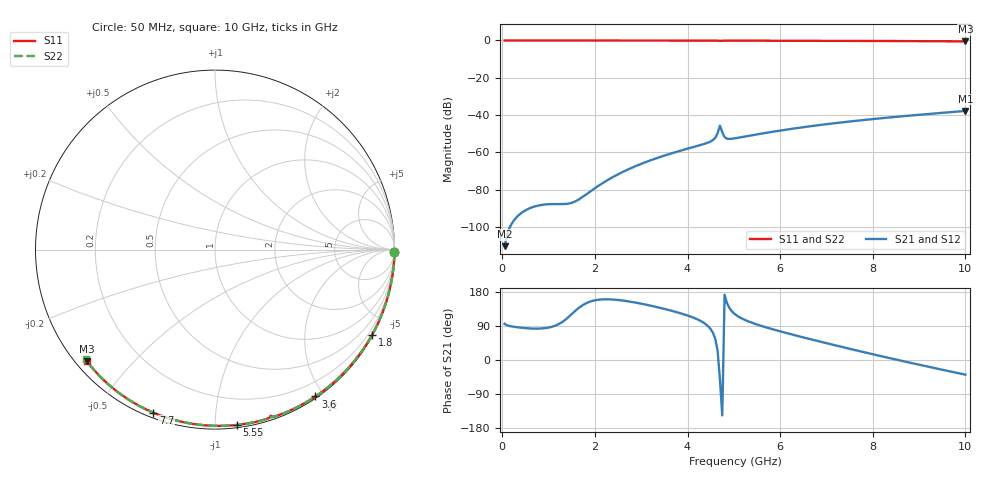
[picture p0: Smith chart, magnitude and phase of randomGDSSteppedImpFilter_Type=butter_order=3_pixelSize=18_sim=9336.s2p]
! freq	dB(S11)	phase(S11)	dB(S12)	phase(S12)
!  dB(S21)	phase(S21)	dB(S22)	phase(S22)
!S-par simulation data
#  GHz  S  DB  R 50
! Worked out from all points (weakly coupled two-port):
!   200 points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, 50 MHz to 10 GHz, reference 50 ohm
!   highest |S21| = -37.80 dB at 10 GHz (marker M1); lowest = -110.4 dB at 50 MHz (marker M2)
!   lowest |S11| = -0.5 dB at 10 GHz (marker M3), VSWR 36.51, Z = 1.56 - j18.8 ohm
!   |S11| at or under -10 dB: nowhere
!   |S22| runs from -0.5 to 0.0 dB; largest |S21 - S12| = 0
!   S11 on the Smith chart (normalised r, x): 50 MHz: open; 1.8 GHz: 0.03, -3.94; 3.6 GHz: 0.02, -1.89; 5.55 GHz: 0.02, -1.13; 7.7 GHz: 0.02, -0.69; 10 GHz: 0.03, -0.38
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0.05  -0.00 -0.8  -110.39 95.5  -110.39 95.5  -0.00 -0.8
0.9  -0.02 -14.4  -88.06 83.8  -88.06 83.8  -0.02 -14.5
1.75  -0.04 -27.7  -83.70 145.7  -83.70 145.7  -0.04 -27.9
1.8  -0.04 -28.5  -82.82 149.1  -82.82 149.1  -0.04 -28.7
1.95  -0.04 -30.8  -80.16 156.1  -80.16 156.1  -0.04 -31.0
2.35  -0.05 -36.9  -73.82 159.8  -73.82 159.8  -0.05 -37.2
2.65  -0.05 -41.5  -69.96 156.1  -69.96 156.1  -0.05 -41.7
3.4  -0.07 -52.7  -62.59 137.9  -62.59 137.9  -0.07 -53.0
3.6  -0.07 -55.6  -60.99 131.7  -60.99 131.7  -0.08 -56.0
4.5  -0.10 -68.6  -54.19 81.5  -54.19 81.5  -0.10 -69.0
4.6  -0.11 -70.1  -52.20 55.2  -52.20 55.2  -0.11 -70.4
4.65  -0.13 -71.0  -49.69 24.4  -49.69 24.4  -0.11 -71.2
4.7  -0.21 -71.5  -45.71 -51.9  -45.71 -51.9  -0.14 -71.8
4.75  -0.15 -71.7  -49.23 -146.1  -49.23 -146.1  -0.12 -72.3
4.8  -0.12 -72.5  -51.89 172.3  -51.89 172.3  -0.12 -73.1
4.9  -0.12 -74.0  -52.84 138.1  -52.84 138.1  -0.11 -74.5
5.05  -0.12 -76.1  -52.40 118.8  -52.40 118.8  -0.12 -76.6
5.55  -0.14 -82.9  -50.18 91.7  -50.18 91.7  -0.14 -83.4
6.7  -0.19 -98.1  -45.88 53.5  -45.88 53.5  -0.19 -98.7
7.7  -0.25 -110.7  -42.95 23.8  -42.95 23.8  -0.26 -111.4
8.35  -0.31 -118.8  -41.34 5.4  -41.34 5.4  -0.31 -119.5
10  -0.48 -138.8  -37.80 -38.7  -37.80 -38.7  -0.48 -139.7
